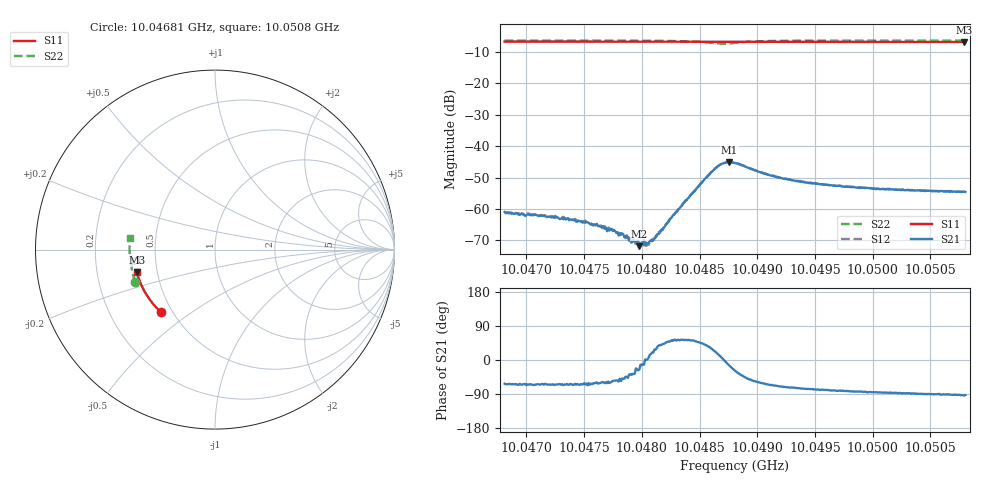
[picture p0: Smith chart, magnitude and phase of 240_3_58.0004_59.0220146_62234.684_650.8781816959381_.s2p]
#  HZ  S  RI  R  50.00
! Rohde & Schwarz Vector Network Analyzer
! Rohde-Schwarz,ZNB20-2Port,1311601062101988,3.16
! Created: UTC 3/21/2024, 1:01:02 AM
! freq[Hz]  re:S11  im:S11  re:S21  im:S21  re:S12  im:S12  re:S22  im:S22
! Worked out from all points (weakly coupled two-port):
!   401 points, 10.04681 GHz to 10.0508 GHz, reference 50 ohm
!   highest |S21| = -45.09 dB at 10.04876 GHz (marker M1); lowest = -71.8 dB at 10.04798 GHz (marker M2)
!   lowest |S11| = -6.9 dB at 10.05079 GHz (marker M3), VSWR 2.66, Z = 19.1 - j6.04 ohm
!   |S11| at or under -10 dB: nowhere
!   |S22| runs from -7.4 to -6.4 dB; largest |S21 - S12| = 0.00036
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1.0046811e10  -0.3027 -0.3474  0.000414 -0.000796  0.000423 -0.000744  -0.4433 -0.1829
1.0047171e10  -0.3197 -0.3306  0.000333 -0.000681  0.000387 -0.000663  -0.4515 -0.1596
1.004748e10  -0.3336 -0.3158  0.000269 -0.000554  0.000304 -0.000564  -0.4575 -0.1389
1.0047729e10  -0.3444 -0.3033  0.000243 -0.000405  0.000255 -0.000397  -0.4614 -0.1212
1.0047849e10  -0.3493 -0.2971  0.000233 -0.000269  0.00027 -0.000273  -0.4629 -0.1124
1.0047899e10  -0.3514 -0.2944  0.000267 -0.000205  0.000269 -0.000233  -0.4636 -0.1086
1.0047929e10  -0.3526 -0.2928  0.00026 -0.000197  0.000278 -0.000165  -0.4639 -0.1064
1.0047949e10  -0.3533 -0.2918  0.000279 -0.000114  0.000236 -0.000119  -0.4642 -0.1047
1.0047979e10  -0.3546 -0.2903  0.000233 -0.000106  0.00025 -0.000101  -0.4643 -0.1025
1.0048039e10  -0.3571 -0.2871  0.000292 2.44e-06  0.000257 2.43e-05  -0.4648 -0.0976
1.0048109e10  -0.3598 -0.2834  0.000296 0.000153  0.000297 0.000167  -0.4652 -0.0919
1.0048148e10  -0.3614 -0.2813  0.000313 0.000248  0.000314 0.000302  -0.4651 -0.0884
1.0048378e10  -0.3702 -0.269  0.000816 0.00108  0.00073 0.00113  -0.462 -0.0663
1.0048597e10  -0.3779 -0.2568  0.00326 0.00196  0.00312 0.00215  -0.4388 -0.0471
1.0048677e10  -0.3805 -0.2524  0.00494 0.000921  0.00493 0.00119  -0.4243 -0.0544
1.0048757e10  -0.3832 -0.2481  0.00539 -0.00137  0.00549 -0.00107  -0.4236 -0.0722
1.0048807e10  -0.3849 -0.2455  0.00473 -0.00253  0.00493 -0.00227  -0.4318 -0.0794
1.0049116e10  -0.3954 -0.2277  0.00137 -0.00312  0.00161 -0.00306  -0.4668 -0.0599
1.0049476e10  -0.4061 -0.2067  0.000593 -0.00249  0.000701 -0.00248  -0.4744 -0.0293
1.0050144e10  -0.4232 -0.1663  0.000135 -0.00203  0.000243 -0.00208  -0.4759 0.0195
1.0050793e10  -0.4359 -0.1255  -0.000126 -0.00189  1.77e-05 -0.00188  -0.4718 0.0633
1.0050803e10  -0.4362 -0.125  -8.58e-05 -0.00186  -4.38e-06 -0.00186  -0.4716 0.0642
